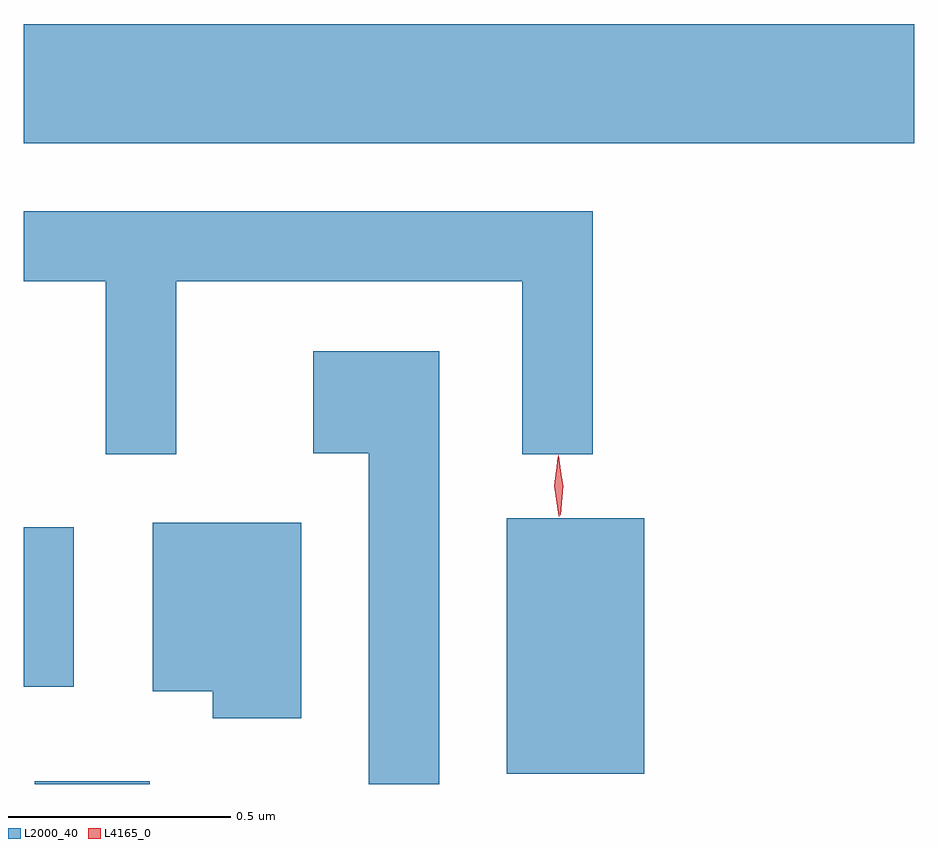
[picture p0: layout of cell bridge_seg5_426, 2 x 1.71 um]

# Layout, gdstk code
import gdstk
lib = gdstk.Library(unit=1e-6, precision=1e-09)
def R(c, l, rs):  # rectangles x0, y0, x1, y1
    for r in rs: c.add(gdstk.rectangle(r[:2], r[2:], *l))
def P(c, l, *ps):  # polygons
    for p in ps: c.add(gdstk.Polygon(p, *l))
L2000_40 = (2000, 40)
L4165_0 = (4165, 0)

bridge_seg5_426 = lib.new_cell('bridge_seg5_426')
R(bridge_seg5_426, L2000_40, [(550.486,1473.118,550.744,1473.124), (551.546,1473.141,551.854,1473.714), (550.461,1473.336,550.574,1473.694), (550.461,1474.556,552.461,1474.824)])
P(bridge_seg5_426, L2000_40, [(550.804,1474.246),(551.581,1474.246),(551.581,1473.858),(551.739,1473.858),(551.739,1474.404),(550.461,1474.404),(550.461,1474.246),(550.646,1474.246),(550.646,1473.858),(550.804,1473.858)],
  [(551.394,1474.089),(551.111,1474.089),(551.111,1473.861),(551.236,1473.861),(551.236,1473.118),(551.394,1473.118)],
  [(551.084,1473.704),(550.751,1473.704),(550.751,1473.326),(550.886,1473.326),(550.886,1473.266),(551.084,1473.266)])
P(bridge_seg5_426, L4165_0, [(551.664,1473.718),(551.663,1473.719),(551.652,1473.787),(551.661,1473.855),(551.661,1473.856),(551.662,1473.855),(551.672,1473.787),(551.664,1473.719)],
  [(551.666,1473.721),(551.666,1473.722),(551.654,1473.786),(551.66,1473.852),(551.66,1473.852),(551.661,1473.852),(551.673,1473.787),(551.667,1473.722)])

lib.write_gds('bridge_seg5_426.gds')
